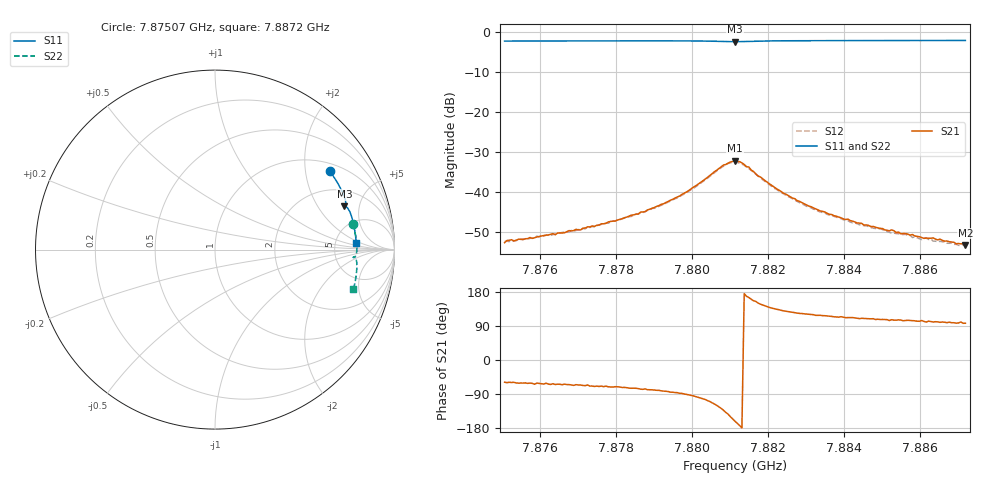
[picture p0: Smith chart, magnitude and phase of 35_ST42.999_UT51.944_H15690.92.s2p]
#  HZ  S  DB  R  50.00
! Rohde & Schwarz Vector Network Analyzer
! Rohde-Schwarz,ZNB20-2Port,1311601062101988,3.16
! Created: UTC 1/12/2023, 6:31:43 PM
! freq[Hz]  db:S11  ang:S11  db:S21  ang:S21  db:S12  ang:S12  db:S22  ang:S22
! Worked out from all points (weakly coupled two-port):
!   201 points, 7.87507 GHz to 7.8872 GHz, reference 50 ohm
!   highest |S21| = -32.17 dB at 7.88113 GHz (marker M1); lowest = -53.3 dB at 7.8872 GHz (marker M2)
!   lowest |S11| = -2.4 dB at 7.88113 GHz (marker M3), VSWR 7.33, Z = 156 + j177 ohm
!   |S11| at or under -10 dB: nowhere
!   |S22| runs from -2.3 to -1.9 dB; largest |S21 - S12| = 0.0021
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7.875065e9  -2.22 34.4  -52.74 -58.6  -52.46 -61.9  -2.14 10.4
7.875126e9  -2.22 34.2  -52.20 -59.7  -52.35 -61.9  -2.13 10.2
7.8764e9  -2.20 30.7  -50.75 -64.7  -50.67 -66.6  -2.09 7.2
7.877128e9  -2.19 28.7  -49.11 -67.2  -49.20 -70.3  -2.07 5.6
7.877977e9  -2.18 26.4  -47.33 -70.5  -47.30 -75.5  -2.06 3.6
7.879129e9  -2.17 23.2  -43.44 -80.1  -43.62 -83.5  -2.05 0.8
7.879857e9  -2.19 21.1  -40.03 -90.8  -40.22 -94.4  -2.05 -1.0
7.880888e9  -2.35 18.4  -33.15 -138.3  -33.19 -141.2  -2.22 -3.3
7.881131e9  -2.38 18.4  -32.17 -161.6  -32.55 -165.2  -2.26 -3.2
7.881495e9  -2.30 18.2  -33.79 164.8  -34.16 161.5  -2.17 -3.2
7.881737e9  -2.24 17.6  -36.06 150.3  -36.02 147.1  -2.10 -3.6
7.882405e9  -2.16 15.7  -40.34 129.7  -40.52 126.4  -2.01 -5.2
7.883193e9  -2.12 13.4  -44.01 119.6  -44.34 115.4  -1.98 -7.1
7.883982e9  -2.11 11.3  -46.79 113.0  -46.99 109.9  -1.96 -9.0
7.885195e9  -2.09 8.1  -49.77 104.1  -50.14 103.0  -1.94 -11.7
7.885255e9  -2.09 7.9  -49.52 106.3  -50.36 104.2  -1.94 -11.8
7.885498e9  -2.09 7.3  -50.54 105.4  -50.61 102.1  -1.93 -12.4
7.886044e9  -2.09 5.9  -51.45 104.2  -51.97 98.8  -1.93 -13.5
7.886104e9  -2.08 5.7  -51.67 101.9  -51.63 99.5  -1.92 -13.7
7.886286e9  -2.08 5.2  -51.63 101.4  -51.81 98.6  -1.92 -14.0
7.886347e9  -2.08 5.0  -51.53 100.3  -52.34 98.6  -1.92 -14.2
7.887196e9  -2.07 2.8  -53.34 97.0  -53.62 92.6  -1.91 -16.0
